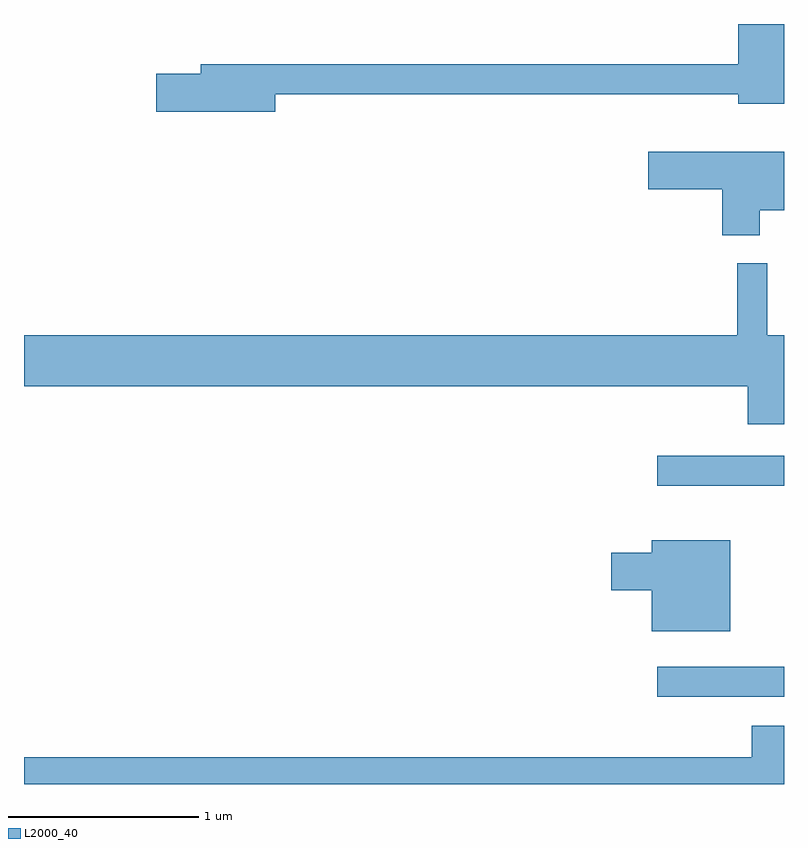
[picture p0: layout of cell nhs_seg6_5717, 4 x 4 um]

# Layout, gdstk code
import gdstk
lib = gdstk.Library(unit=1e-6, precision=1e-09)
def R(c, l, rs):  # rectangles x0, y0, x1, y1
    for r in rs: c.add(gdstk.rectangle(r[:2], r[2:], *l))
def P(c, l, *ps):  # polygons
    for p in ps: c.add(gdstk.Polygon(p, *l))
L2000_40 = (2000, 40)

nhs_seg6_5717 = lib.new_cell('nhs_seg6_5717')
R(nhs_seg6_5717, L2000_40, [(362.943,1550.621,363.611,1550.779), (362.943,1551.731,363.611,1551.889)])
P(nhs_seg6_5717, L2000_40, [(360.934,1553.791),(363.371,1553.791),(363.371,1553.741),(363.611,1553.741),(363.611,1554.162),(363.371,1554.162),(363.371,1553.949),(360.541,1553.949),(360.541,1553.899),(360.306,1553.899),(360.306,1553.701),(360.934,1553.701)],
  [(363.484,1553.181),(363.611,1553.181),(363.611,1553.489),(362.896,1553.489),(362.896,1553.291),(363.286,1553.291),(363.286,1553.051),(363.484,1553.051)],
  [(363.611,1552.524),(363.524,1552.524),(363.524,1552.903),(363.366,1552.903),(363.366,1552.524),(359.611,1552.524),(359.611,1552.256),(363.421,1552.256),(363.421,1552.056),(363.611,1552.056)],
  [(363.329,1551.444),(362.916,1551.444),(362.916,1551.379),(362.701,1551.379),(362.701,1551.181),(362.916,1551.181),(362.916,1550.966),(363.329,1550.966)],
  [(363.611,1550.469),(363.441,1550.469),(363.441,1550.304),(359.611,1550.304),(359.611,1550.162),(363.611,1550.162)])

lib.write_gds('nhs_seg6_5717.gds')
